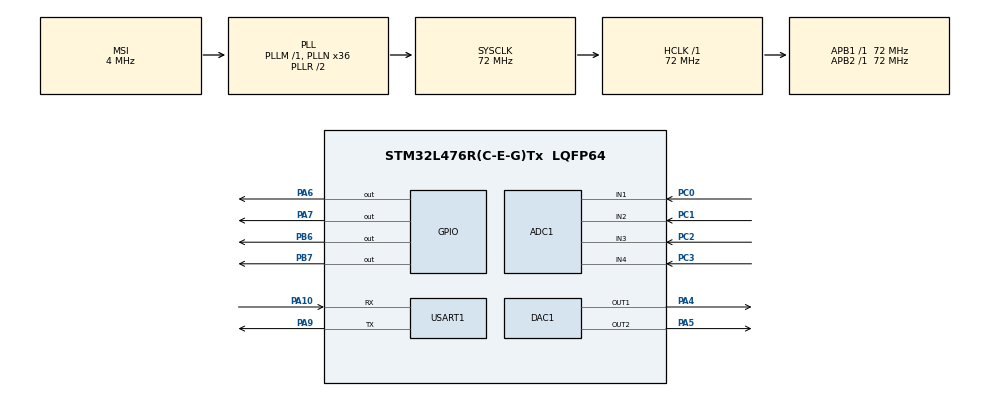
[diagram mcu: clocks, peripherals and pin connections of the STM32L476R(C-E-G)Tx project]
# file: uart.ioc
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ADC1.Channel-0\#ChannelRegularConversion=ADC_CHANNEL_1
ADC1.NbrOfConversionFlag=1
ADC1.OffsetNumber-0\#ChannelRegularConversion=ADC_OFFSET_NONE
ADC1.Rank-0\#ChannelRegularConversion=1
ADC1.SamplingTime-0\#ChannelRegularConversion=ADC_SAMPLETIME_2CYCLES_5
ADC1.master=1
DAC1.DAC_Channel-DAC_OUT2=DAC_CHANNEL_2
Mcu.Family=STM32L4
Mcu.Name=STM32L476R(C-E-G)Tx
Mcu.Package=LQFP64
NVIC.ADC1_2_IRQn=true\:0\:0\:false\:false\:true\:true\:true
NVIC.PriorityGroup=NVIC_PRIORITYGROUP_4
NVIC.TIM2_IRQn=true\:0\:0\:false\:false\:true\:true\:true
NVIC.TIM6_DAC_IRQn=true\:0\:0\:false\:false\:true\:true\:true
PA10.Mode=Asynchronous
PA10.Signal=USART1_RX
PA4.Signal=COMP_DAC11_group
PA5.Signal=COMP_DAC12_group
PA6.Signal=GPIO_Output
PA7.Signal=GPIO_Output
PA9.Mode=Asynchronous
PA9.Signal=USART1_TX
PB6.Signal=GPIO_Output
PB7.Signal=GPIO_Output
PC0.Signal=ADCx_IN1
PC1.Signal=ADCx_IN2
PC2.Signal=ADCx_IN3
PC3.Signal=ADCx_IN4
ProjectManager.HeapSize=0x200
ProjectManager.StackSize=0x400
ProjectManager.TargetToolchain=STM32CubeIDE
RCC.ADCFreq_Value=32000000
RCC.AHBFreq_Value=72000000
RCC.APB1Freq_Value=72000000
RCC.APB1TimFreq_Value=72000000
RCC.APB2Freq_Value=72000000
RCC.APB2TimFreq_Value=72000000
RCC.CortexFreq_Value=72000000
RCC.HCLKFreq_Value=72000000
RCC.HSE_VALUE=8000000
RCC.HSI_VALUE=16000000
RCC.LSE_VALUE=32768
RCC.MSI_VALUE=4000000
RCC.PLLN=36
RCC.PLLSAI1N=16
RCC.SYSCLKFreq_VALUE=72000000
RCC.SYSCLKSource=RCC_SYSCLKSOURCE_PLLCLK
RCC.USBFreq_Value=32000000
RCC.VCOOutputFreq_Value=144000000
SH.ADCx_IN1.0=ADC1_IN1,IN1-Single-Ended
SH.ADCx_IN2.0=ADC1_IN2,IN2-Single-Ended
SH.ADCx_IN3.0=ADC1_IN3,IN3-Single-Ended
SH.ADCx_IN4.0=ADC1_IN4,IN4-Single-Ended
SH.COMP_DAC11_group.0=DAC1_OUT1,DAC_OUT1
SH.COMP_DAC12_group.0=DAC1_OUT2,DAC_OUT2
TIM2.Period=99
TIM2.Prescaler=71
USART1.VirtualMode-Asynchronous=VM_ASYNC
VP_TIM2_VS_ClockSourceINT.Mode=Internal
board=custom

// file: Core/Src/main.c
/* USER CODE BEGIN Header */
/**
  ******************************************************************************
  * @file           : main.c
  * @brief          : Main program body
  ******************************************************************************
  * @attention
  *
  * <h2><center>&copy; Copyright (c) 2025 STMicroelectronics.
  * All rights reserved.</center></h2>
  *
  * This software component is licensed by ST under BSD 3-Clause license,
  * the "License"; You may not use this file except in compliance with the
  * License. You may obtain a copy of the License at:
  *                        opensource.org/licenses/BSD-3-Clause
  *
  ******************************************************************************
  */
/* USER CODE END Header */
#include "main.h"

/* USER CODE BEGIN Includes */
#include <stdio.h>         // для snprintf
#include <string.h>

/* USER CODE END Includes */

/* USER CODE BEGIN PD */
#define SAMPLE_COUNT 7000
#define TOTAL_CHANNELS 2

uint16_t adcBuffer1[SAMPLE_COUNT]; // PC0 - ADC_CHANNEL_1
uint16_t adcBuffer2[SAMPLE_COUNT]; // PC1 - ADC_CHANNEL_2

volatile uint16_t sampleIndex = 0;
volatile uint8_t sampleReady = 0;
volatile uint8_t dataSent = 0;
uint32_t timestamp = 0;
volatile uint8_t adcReady = 0;
uint8_t currentChannel = 0;

typedef enum {
    IDLE,
    SAMPLING,
    WAIT_BEFORE_SEND,
    SENDING,
    WAIT_NEXT_CYCLE
} AppState;

AppState state = IDLE;

/* USER CODE END PD */

ADC_HandleTypeDef hadc1;

DAC_HandleTypeDef hdac1;

TIM_HandleTypeDef htim2;

UART_HandleTypeDef huart1;

void SystemClock_Config(void);
static void MX_GPIO_Init(void);
static void MX_USART1_UART_Init(void);
static void MX_ADC1_Init(void);
static void MX_TIM2_Init(void);
static void MX_DAC1_Init(void);
/* USER CODE BEGIN PFP */

void ADC_SetChannel(uint32_t channel)
{
    ADC_ChannelConfTypeDef sConfig = {0};
    sConfig.Channel = channel;
    sConfig.Rank = ADC_REGULAR_RANK_1;
    sConfig.SamplingTime = ADC_SAMPLETIME_47CYCLES_5;
    sConfig.SingleDiff = ADC_SINGLE_ENDED;
    sConfig.OffsetNumber = ADC_OFFSET_NONE;
    sConfig.Offset = 0;

    if (HAL_ADC_ConfigChannel(&hadc1, &sConfig) != HAL_OK)
    {
        Error_Handler(); //
    }
}

void HAL_TIM_PeriodElapsedCallback(TIM_HandleTypeDef *htim)
{
    if (htim->Instance == TIM2 && !sampleReady && !adcReady)
    {
        adcReady = 1;

        switch (currentChannel)
        {
            case 0:
                ADC_SetChannel(ADC_CHANNEL_1); // PC0
                break;
            case 1:
                ADC_SetChannel(ADC_CHANNEL_2); // PC1
                break;
        }

        HAL_ADC_Start_IT(&hadc1); // Запуск АЦП в режиме прерывания
    }
}

void HAL_ADC_ConvCpltCallback(ADC_HandleTypeDef* hadc)
{
    if (hadc->Instance == ADC1 && adcReady)
    {
        uint16_t val = HAL_ADC_GetValue(hadc);

        switch (currentChannel)
        {
            case 0:
                adcBuffer1[sampleIndex] = val;
                currentChannel = 1;
                break;
            case 1:
                adcBuffer2[sampleIndex] = val;
                currentChannel = 0;
                sampleIndex++;
                if (sampleIndex >= SAMPLE_COUNT)
                {
                    sampleReady = 1;
                    sampleIndex = 0;
                    HAL_TIM_Base_Stop_IT(&htim2); // Остановить таймер
                }
                break;
        }

        adcReady = 0;
    }
}

/* USER CODE END PFP */

int main(void)
{

  /* MCU Configuration--------------------------------------------------------*/

  /* Reset of all peripherals, Initializes the Flash interface and the Systick. */
  HAL_Init();

  /* Configure the system clock */
  SystemClock_Config();

  /* Initialize all configured peripherals */
  MX_GPIO_Init();
  MX_USART1_UART_Init();
  MX_ADC1_Init();
  MX_TIM2_Init();
  MX_DAC1_Init();

  /* Infinite loop */
  /* USER CODE BEGIN WHILE */

  while (1)
    	    {
    	        switch (state)
    	        {
    	        case IDLE:
    	            sampleIndex = 0;
    	            sampleReady = 0;
    	            dataSent = 0;
    	            adcReady = 0;
    	            currentChannel = 0;
       	            HAL_DAC_Start(&hdac1, DAC_CHANNEL_2);
    	            HAL_TIM_Base_Start_IT(&htim2);

    	            HAL_Delay(100);

    	            HAL_DAC_SetValue(&hdac1, DAC_CHANNEL_2, DAC_ALIGN_12B_R, 4030);
    	            HAL_GPIO_WritePin(GPIOA, GPIO_PIN_6, GPIO_PIN_SET);
    	            HAL_Delay(1000);
    	            HAL_GPIO_WritePin(GPIOA, GPIO_PIN_6, GPIO_PIN_RESET); // выключаем светодиод
    	            HAL_DAC_SetValue(&hdac1, DAC_CHANNEL_2, DAC_ALIGN_12B_R, 0);

    	            timestamp = HAL_GetTick();
    	            state = SAMPLING;
    	            break;
//// ЭМ, НУ НОРМ ЛАДНОЛ
    	        case SAMPLING:
    	            if (sampleReady)
    	            {
    	                HAL_TIM_Base_Stop_IT(&htim2);
    	                timestamp = HAL_GetTick();
    	                state = WAIT_BEFORE_SEND;
    	            }
    	            break;

    	            case WAIT_BEFORE_SEND:

    	                if (HAL_GetTick() - timestamp >= 1000) // ждём 1 сек
    	                {
    	                    state = SENDING;
    	                }
    	                break;

    	            case SENDING:
    	            {
    	                char msg[1024 * 50]; // Увеличенный буфер
    	                int len = 0;
    	                len += snprintf(&msg[len], sizeof(msg) - len, "Channel 1 (PC0):\n");
    	                for (int i = 0; i < SAMPLE_COUNT; i++)
    	                    len += snprintf(&msg[len], sizeof(msg) - len, "%u,", adcBuffer1[i]);
    	                msg[len - 1] = '\n';

    	                len += snprintf(&msg[len], sizeof(msg) - len, "Channel 2 (PC1):\n");
    	                for (int i = 0; i < SAMPLE_COUNT; i++)
    	                    len += snprintf(&msg[len], sizeof(msg) - len, "%u,", adcBuffer2[i]);
    	                msg[len - 1] = '\n';

    	                HAL_UART_Transmit(&huart1, (uint8_t*)msg, len, HAL_MAX_DELAY);

    	                timestamp = HAL_GetTick();
    	                state = WAIT_NEXT_CYCLE;
    	                break;
    	            }

    	            case WAIT_NEXT_CYCLE:
    	                if (HAL_GetTick() - timestamp >= 30000) // ждём n сек
    	                {
    	                    state = IDLE;
    	                }
    	                break;
    	        }
    	    }
    /* USER CODE END 3 */
  }

    /* USER CODE END WHILE */

void SystemClock_Config(void)
{
  RCC_OscInitTypeDef RCC_OscInitStruct = {0};
  RCC_ClkInitTypeDef RCC_ClkInitStruct = {0};
  RCC_PeriphCLKInitTypeDef PeriphClkInit = {0};

  /** Initializes the RCC Oscillators according to the specified parameters
  * in the RCC_OscInitTypeDef structure.
  */
  RCC_OscInitStruct.OscillatorType = RCC_OSCILLATORTYPE_MSI;
  RCC_OscInitStruct.MSIState = RCC_MSI_ON;
  RCC_OscInitStruct.MSICalibrationValue = 0;
  RCC_OscInitStruct.MSIClockRange = RCC_MSIRANGE_6;
  RCC_OscInitStruct.PLL.PLLState = RCC_PLL_ON;
  RCC_OscInitStruct.PLL.PLLSource = RCC_PLLSOURCE_MSI;
  RCC_OscInitStruct.PLL.PLLM = 1;
  RCC_OscInitStruct.PLL.PLLN = 36;
  RCC_OscInitStruct.PLL.PLLP = RCC_PLLP_DIV7;
  RCC_OscInitStruct.PLL.PLLQ = RCC_PLLQ_DIV2;
  RCC_OscInitStruct.PLL.PLLR = RCC_PLLR_DIV2;
  if (HAL_RCC_OscConfig(&RCC_OscInitStruct) != HAL_OK)
  {
    Error_Handler();
  }
  /** Initializes the CPU, AHB and APB buses clocks
  */
  RCC_ClkInitStruct.ClockType = RCC_CLOCKTYPE_HCLK|RCC_CLOCKTYPE_SYSCLK
                              |RCC_CLOCKTYPE_PCLK1|RCC_CLOCKTYPE_PCLK2;
  RCC_ClkInitStruct.SYSCLKSource = RCC_SYSCLKSOURCE_PLLCLK;
  RCC_ClkInitStruct.AHBCLKDivider = RCC_SYSCLK_DIV1;
  RCC_ClkInitStruct.APB1CLKDivider = RCC_HCLK_DIV1;
  RCC_ClkInitStruct.APB2CLKDivider = RCC_HCLK_DIV1;

  if (HAL_RCC_ClockConfig(&RCC_ClkInitStruct, FLASH_LATENCY_4) != HAL_OK)
  {
    Error_Handler();
  }
  PeriphClkInit.PeriphClockSelection = RCC_PERIPHCLK_USART1|RCC_PERIPHCLK_ADC;
  PeriphClkInit.Usart1ClockSelection = RCC_USART1CLKSOURCE_PCLK2;
  PeriphClkInit.AdcClockSelection = RCC_ADCCLKSOURCE_PLLSAI1;
  PeriphClkInit.PLLSAI1.PLLSAI1Source = RCC_PLLSOURCE_MSI;
  PeriphClkInit.PLLSAI1.PLLSAI1M = 1;
  PeriphClkInit.PLLSAI1.PLLSAI1N = 16;
  PeriphClkInit.PLLSAI1.PLLSAI1P = RCC_PLLP_DIV7;
  PeriphClkInit.PLLSAI1.PLLSAI1Q = RCC_PLLQ_DIV2;
  PeriphClkInit.PLLSAI1.PLLSAI1R = RCC_PLLR_DIV2;
  PeriphClkInit.PLLSAI1.PLLSAI1ClockOut = RCC_PLLSAI1_ADC1CLK;
  if (HAL_RCCEx_PeriphCLKConfig(&PeriphClkInit) != HAL_OK)
  {
    Error_Handler();
  }
  /** Configure the main internal regulator output voltage
  */
  if (HAL_PWREx_ControlVoltageScaling(PWR_REGULATOR_VOLTAGE_SCALE1) != HAL_OK)
  {
    Error_Handler();
  }
}

static void MX_ADC1_Init(void)
{

  ADC_MultiModeTypeDef multimode = {0};
  ADC_ChannelConfTypeDef sConfig = {0};

  /** Common config
  */
  hadc1.Instance = ADC1;
  hadc1.Init.ClockPrescaler = ADC_CLOCK_ASYNC_DIV1;
  hadc1.Init.Resolution = ADC_RESOLUTION_12B;
  HAL_NVIC_SetPriority(ADC1_IRQn, 0, 0);
  HAL_NVIC_EnableIRQ(ADC1_IRQn);

  hadc1.Init.DataAlign = ADC_DATAALIGN_RIGHT;
  hadc1.Init.ScanConvMode = ADC_SCAN_DISABLE;
  hadc1.Init.EOCSelection = ADC_EOC_SINGLE_CONV;
  hadc1.Init.LowPowerAutoWait = DISABLE;
  hadc1.Init.ContinuousConvMode = DISABLE;
  hadc1.Init.NbrOfConversion = 1;
  hadc1.Init.DiscontinuousConvMode = DISABLE;
  hadc1.Init.ExternalTrigConv = ADC_SOFTWARE_START;
  hadc1.Init.ExternalTrigConvEdge = ADC_EXTERNALTRIGCONVEDGE_NONE;
  hadc1.Init.DMAContinuousRequests = DISABLE;
  hadc1.Init.Overrun = ADC_OVR_DATA_PRESERVED;
  hadc1.Init.OversamplingMode = DISABLE;

  HAL_NVIC_SetPriority(ADC1_IRQn, 0, 0);
  HAL_NVIC_EnableIRQ(ADC1_IRQn);

  if (HAL_ADC_Init(&hadc1) != HAL_OK)
  {
    Error_Handler();
  }

  /** Configure the ADC multi-mode
  */
  multimode.Mode = ADC_MODE_INDEPENDENT;
  if (HAL_ADCEx_MultiModeConfigChannel(&hadc1, &multimode) != HAL_OK)
  {
    Error_Handler();
  }
  /** Configure Regular Channel
  */
  sConfig.Channel = ADC_CHANNEL_1;
  sConfig.Rank = ADC_REGULAR_RANK_1;
  sConfig.SamplingTime = ADC_SAMPLETIME_2CYCLES_5;
  sConfig.SingleDiff = ADC_SINGLE_ENDED;
  sConfig.OffsetNumber = ADC_OFFSET_NONE;
  sConfig.Offset = 0;
  if (HAL_ADC_ConfigChannel(&hadc1, &sConfig) != HAL_OK)
  {
    Error_Handler();
  }

}

static void MX_DAC1_Init(void)
{

  DAC_ChannelConfTypeDef sConfig = {0};

  /** DAC Initialization
  */
  hdac1.Instance = DAC1;
  if (HAL_DAC_Init(&hdac1) != HAL_OK)
  {
    Error_Handler();
  }
  /** DAC channel OUT1 config
  */
  sConfig.DAC_SampleAndHold = DAC_SAMPLEANDHOLD_DISABLE;
  sConfig.DAC_Trigger = DAC_TRIGGER_NONE;
  sConfig.DAC_OutputBuffer = DAC_OUTPUTBUFFER_ENABLE;
  sConfig.DAC_ConnectOnChipPeripheral = DAC_CHIPCONNECT_DISABLE;
  sConfig.DAC_UserTrimming = DAC_TRIMMING_FACTORY;
  if (HAL_DAC_ConfigChannel(&hdac1, &sConfig, DAC_CHANNEL_1) != HAL_OK)
  {
    Error_Handler();
  }
  /** DAC channel OUT2 config
  */
  sConfig.DAC_ConnectOnChipPeripheral = DAC_CHIPCONNECT_DISABLE;
  if (HAL_DAC_ConfigChannel(&hdac1, &sConfig, DAC_CHANNEL_2) != HAL_OK)
  {
    Error_Handler();
  }

}

static void MX_TIM2_Init(void)
{

  TIM_ClockConfigTypeDef sClockSourceConfig = {0};
  TIM_MasterConfigTypeDef sMasterConfig = {0};

  htim2.Instance = TIM2;
  htim2.Init.Prescaler = 71;
  htim2.Init.CounterMode = TIM_COUNTERMODE_UP;
  htim2.Init.Period = 99;
  htim2.Init.ClockDivision = TIM_CLOCKDIVISION_DIV1;
  htim2.Init.AutoReloadPreload = TIM_AUTORELOAD_PRELOAD_DISABLE;
  if (HAL_TIM_Base_Init(&htim2) != HAL_OK)
  {
    Error_Handler();
  }
  sClockSourceConfig.ClockSource = TIM_CLOCKSOURCE_INTERNAL;
  if (HAL_TIM_ConfigClockSource(&htim2, &sClockSourceConfig) != HAL_OK)
  {
    Error_Handler();
  }
  sMasterConfig.MasterOutputTrigger = TIM_TRGO_RESET;
  sMasterConfig.MasterSlaveMode = TIM_MASTERSLAVEMODE_DISABLE;
  if (HAL_TIMEx_MasterConfigSynchronization(&htim2, &sMasterConfig) != HAL_OK)
  {
    Error_Handler();
  }

}

static void MX_USART1_UART_Init(void)
{

  huart1.Instance = USART1;
  huart1.Init.BaudRate = 115200;
  huart1.Init.WordLength = UART_WORDLENGTH_8B;
  huart1.Init.StopBits = UART_STOPBITS_1;
  huart1.Init.Parity = UART_PARITY_NONE;
  huart1.Init.Mode = UART_MODE_TX_RX;
  huart1.Init.HwFlowCtl = UART_HWCONTROL_NONE;
  huart1.Init.OverSampling = UART_OVERSAMPLING_16;
  huart1.Init.OneBitSampling = UART_ONE_BIT_SAMPLE_DISABLE;
  huart1.AdvancedInit.AdvFeatureInit = UART_ADVFEATURE_NO_INIT;
  if (HAL_UART_Init(&huart1) != HAL_OK)
  {
    Error_Handler();
  }

}

static void MX_GPIO_Init(void)
{
  GPIO_InitTypeDef GPIO_InitStruct = {0};

  /* GPIO Ports Clock Enable */
  __HAL_RCC_GPIOC_CLK_ENABLE();
  __HAL_RCC_GPIOA_CLK_ENABLE();
  __HAL_RCC_GPIOB_CLK_ENABLE();

  /*Configure GPIO pin Output Level */
  HAL_GPIO_WritePin(GPIOA, GPIO_PIN_6|GPIO_PIN_7, GPIO_PIN_RESET);

  /*Configure GPIO pin Output Level */
  HAL_GPIO_WritePin(GPIOB, GPIO_PIN_6|GPIO_PIN_7, GPIO_PIN_RESET);

  /*Configure GPIO pins : PA6 PA7 */
  GPIO_InitStruct.Pin = GPIO_PIN_6|GPIO_PIN_7;
  GPIO_InitStruct.Mode = GPIO_MODE_OUTPUT_PP;
  GPIO_InitStruct.Pull = GPIO_NOPULL;
  GPIO_InitStruct.Speed = GPIO_SPEED_FREQ_LOW;
  HAL_GPIO_Init(GPIOA, &GPIO_InitStruct);

  /*Configure GPIO pins : PB6 PB7 */
  GPIO_InitStruct.Pin = GPIO_PIN_6|GPIO_PIN_7;
  GPIO_InitStruct.Mode = GPIO_MODE_OUTPUT_PP;
  GPIO_InitStruct.Pull = GPIO_NOPULL;
  GPIO_InitStruct.Speed = GPIO_SPEED_FREQ_LOW;
  HAL_GPIO_Init(GPIOB, &GPIO_InitStruct);

}

void Error_Handler(void)
{
  __disable_irq();
  while (1)
  {
  }
}

/************************ (C) COPYRIGHT STMicroelectronics *****END OF FILE****/
